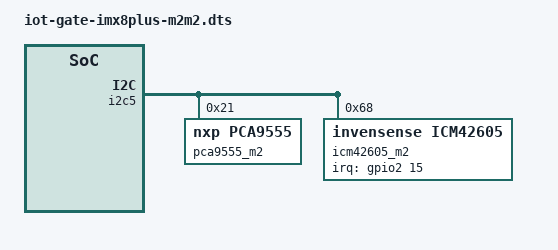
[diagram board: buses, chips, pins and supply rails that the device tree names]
// SPDX-License-Identifier: (GPL-2.0+ OR MIT)
/*
 * Copyright 2026 CompuLab Ltd.
 */

#include "iot-gate-imx8plus-m2tpm.dts"

/* IOT-GATE-IMX8PLUS with M.2 connector + IMU IMC42605 + SLB9670 TPM extension module in M.2 Expansion Connector */
/* 
 * M.2 P1 connector pinout:
 * ----+------------
 *  ## | Signal
 * ----+------------
 *  03 | USB_DP
 *  05 | USB_DN
 *  15 | ECSPI2_SS0
 *  17 | ECSPI2_MISO
 *  21 | ECSPI2_SCLK
 *  23 | ECSPI2_MOSI
 *  34 | I2C5_SDA
 *  36 | I2C5_SCL
 *  46 | BT_PERST
 *  48 | W_DISABLE1
 *  50 | TPM_PIRQn
 *  52 | TPM_RSTn
 *  54 | ICM_INT1
 *  58 | ICM_INT2
 * ----+----------------
 *
 * M.2 P2 connector pinout:
 * ----+-----------------------
 *  ## | Signal     | Pin Name
 * ----+------------+----------
 *  03 | USB_DP     | USB_D+
 *  05 | USB_DN     | USB_D-
 *  52 | BT_PERST   | PERST#
 *  56 | W_DISABLE1 | W_DIS1#
 * ----+-----------------------
 */

&tpm_nreset {
	reset-gpios = <&gpio2 14 GPIO_ACTIVE_HIGH>;
};

&gpio2 {
	pinctrl-names = "default";
	pinctrl-0 = <&pinctrl_gpio2_pinmux>;
	gpio-line-names = "", "", "", "", "", "", "", "",
			"", "", "", "", "", "W_DISABLE1", "TPM_RSTn", "ICM_INT1",
			"ICM_INT2", "BT_PERST", "", "", "", "", "", "",
			"", "", "", "", "", "", "", "";
};

&i2c5 {
	/delete-node/ eeprom_m2;

	pca9555_m2: pca9555-m2@21 {
		compatible = "nxp,pca9555";
		gpio-controller;
		#gpio-cells = <2>;
		reg = <0x21>;
	};

	icm42605_m2: imu-m2@68 {
		pinctrl-names = "default";
		pinctrl-0 = <&pinctrl_imu_int>;
		compatible = "invensense,icm42605";
		reg = <0x68>;
		interrupt-parent = <&gpio2>;
		interrupts = <15 IRQ_TYPE_EDGE_FALLING>;
		status = "okay";
	};
};

&iomuxc {
	pinctrl_gpio2_pinmux: gpio2grp {
		fsl,pins = <
			MX8MP_IOMUXC_SD2_CLK__GPIO2_IO13			0x100 /* W _DISABLE1 */
			MX8MP_IOMUXC_SD2_DATA2__GPIO2_IO17			0x100 /* BT_PERST */
		>;
	};

	pinctrl_tpm_nrst: tpmnrstgrp {
		fsl,pins = <
			MX8MP_IOMUXC_SD2_CMD__GPIO2_IO14			0x110 /* TPM_RSTn */
		>;
	};

	pinctrl_imu_int: imuintgrp {
		fsl,pins = <
			MX8MP_IOMUXC_SD2_DATA0__GPIO2_IO15			0x146 /* ICM_INT1 */
			MX8MP_IOMUXC_SD2_DATA1__GPIO2_IO16			0x146 /* ICM_INT2 */
		>;
	};
};
